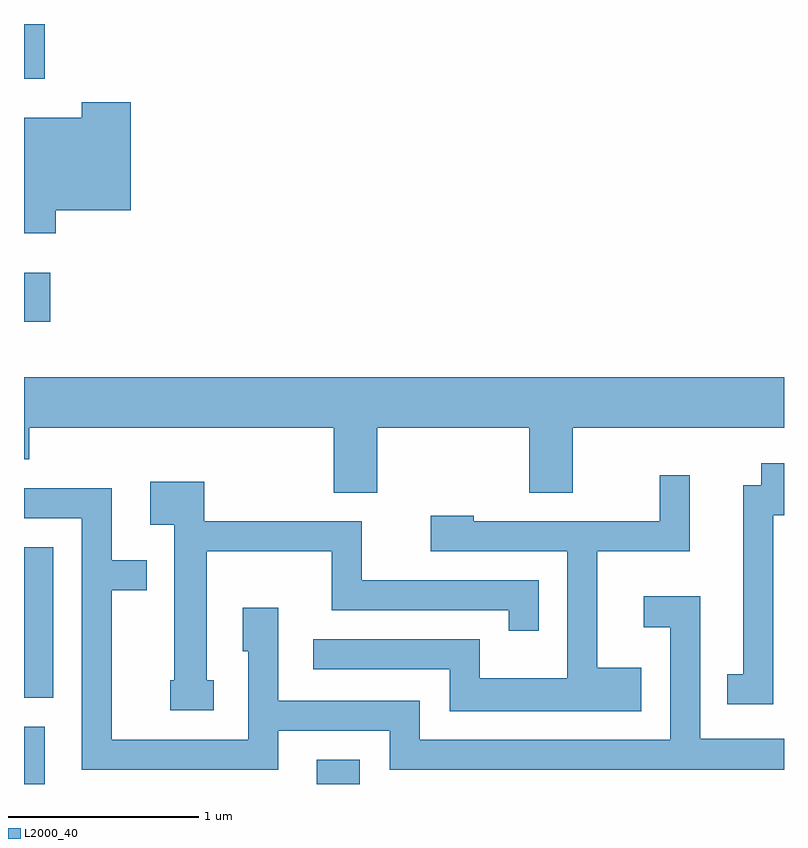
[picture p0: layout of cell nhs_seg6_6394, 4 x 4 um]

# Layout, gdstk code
import gdstk
lib = gdstk.Library(unit=1e-6, precision=1e-09)
def R(c, l, rs):  # rectangles x0, y0, x1, y1
    for r in rs: c.add(gdstk.rectangle(r[:2], r[2:], *l))
def P(c, l, *ps):  # polygons
    for p in ps: c.add(gdstk.Polygon(p, *l))
L2000_40 = (2000, 40)

nhs_seg6_6394 = lib.new_cell('nhs_seg6_6394')
R(nhs_seg6_6394, L2000_40, [(379.611,1548.162,379.719,1548.464), (381.151,1548.162,381.379,1548.289), (379.611,1548.616,379.764,1549.409), (379.611,1550.596,379.749,1550.854), (379.611,1551.873,379.719,1552.162)])
P(nhs_seg6_6394, L2000_40, [(379.779,1551.181),(380.174,1551.181),(380.174,1551.749),(379.916,1551.749),(379.916,1551.669),(379.611,1551.669),(379.611,1551.061),(379.779,1551.061)],
  [(381.469,1550.036),(382.271,1550.036),(382.271,1549.696),(382.499,1549.696),(382.499,1550.036),(383.611,1550.036),(383.611,1550.304),(379.611,1550.304),(379.611,1549.871),(379.639,1549.871),(379.639,1550.036),(381.241,1550.036),(381.241,1549.696),(381.469,1549.696)],
  [(383.554,1549.576),(383.611,1549.576),(383.611,1549.849),(383.491,1549.849),(383.491,1549.734),(383.396,1549.734),(383.396,1548.739),(383.313,1548.739),(383.313,1548.581),(383.554,1548.581)],
  [(382.859,1548.774),(382.629,1548.774),(382.629,1549.386),(383.114,1549.386),(383.114,1549.788),(382.956,1549.788),(382.956,1549.544),(381.979,1549.544),(381.979,1549.574),(381.751,1549.574),(381.751,1549.386),(382.471,1549.386),(382.471,1548.719),(382.009,1548.719),(382.009,1548.924),(381.133,1548.924),(381.133,1548.766),(381.851,1548.766),(381.851,1548.546),(382.859,1548.546)],
  [(380.609,1548.709),(380.574,1548.709),(380.574,1549.386),(381.231,1549.386),(381.231,1549.076),(382.161,1549.076),(382.161,1548.968),(382.319,1548.968),(382.319,1549.234),(381.389,1549.234),(381.389,1549.544),(380.559,1549.544),(380.559,1549.754),(380.276,1549.754),(380.276,1549.526),(380.401,1549.526),(380.401,1548.709),(380.381,1548.709),(380.381,1548.551),(380.609,1548.551)],
  [(380.949,1548.441),(381.536,1548.441),(381.536,1548.236),(383.611,1548.236),(383.611,1548.399),(383.169,1548.399),(383.169,1549.149),(382.873,1549.149),(382.873,1548.986),(383.011,1548.986),(383.011,1548.394),(381.694,1548.394),(381.694,1548.599),(380.949,1548.599),(380.949,1549.089),(380.761,1549.089),(380.761,1548.861),(380.791,1548.861),(380.791,1548.394),(380.074,1548.394),(380.074,1549.181),(380.258,1549.181),(380.258,1549.339),(380.074,1549.339),(380.074,1549.719),(379.611,1549.719),(379.611,1549.561),(379.916,1549.561),(379.916,1548.236),(380.949,1548.236)])

lib.write_gds('nhs_seg6_6394.gds')
